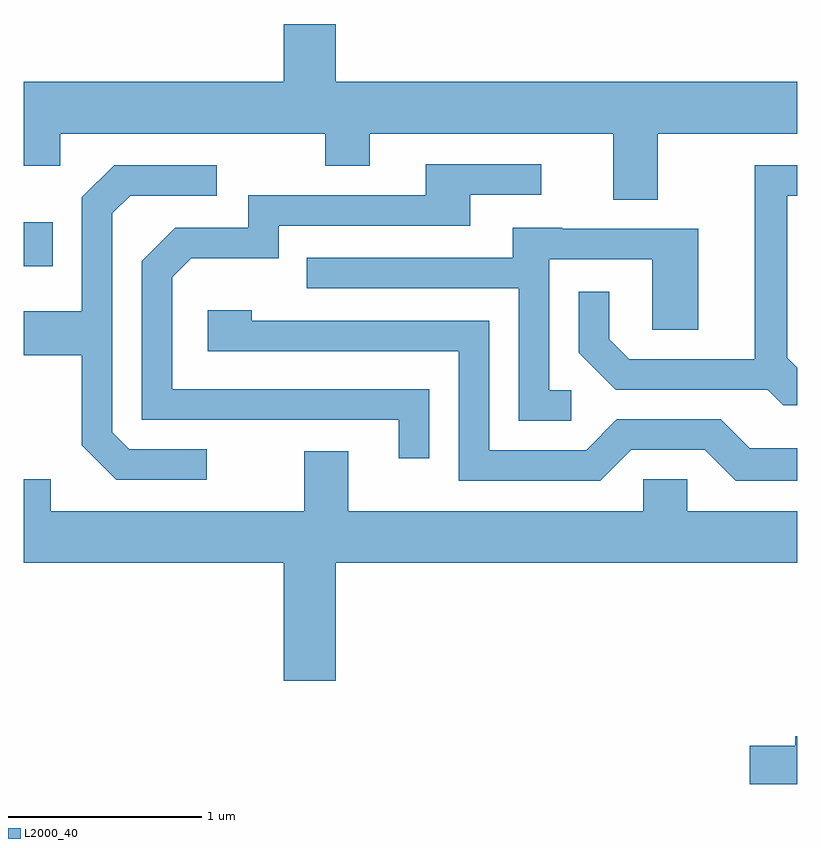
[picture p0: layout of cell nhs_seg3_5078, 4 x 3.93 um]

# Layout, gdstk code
import gdstk
lib = gdstk.Library(unit=1e-6, precision=1e-09)
def R(c, l, rs):  # rectangles x0, y0, x1, y1
    for r in rs: c.add(gdstk.rectangle(r[:2], r[2:], *l))
def P(c, l, *ps):  # polygons
    for p in ps: c.add(gdstk.Polygon(p, *l))
L2000_40 = (2000, 40)

nhs_seg3_5078 = lib.new_cell('nhs_seg3_5078')
R(nhs_seg3_5078, L2000_40, [(333.611,1218.571,333.759,1218.799)])
P(nhs_seg3_5078, L2000_40, [(336.889,1219.256),(337.611,1219.256),(337.611,1219.524),(335.224,1219.524),(335.224,1219.824),(334.956,1219.824),(334.956,1219.524),(333.611,1219.524),(333.611,1219.091),(333.799,1219.091),(333.799,1219.256),(335.171,1219.256),(335.171,1219.091),(335.399,1219.091),(335.399,1219.256),(336.661,1219.256),(336.661,1218.916),(336.889,1218.916)],
  [(335.709,1217.934),(334.379,1217.934),(334.379,1218.514),(334.477,1218.611),(334.929,1218.611),(334.929,1218.781),(335.919,1218.781),(335.919,1218.941),(336.288,1218.941),(336.288,1219.099),(335.691,1219.099),(335.691,1218.939),(334.771,1218.939),(334.771,1218.769),(334.394,1218.769),(334.221,1218.597),(334.221,1217.776),(335.551,1217.776),(335.551,1217.578),(335.709,1217.578)],
  [(334.558,1217.624),(334.157,1217.624),(334.069,1217.712),(334.069,1218.844),(334.162,1218.936),(334.608,1218.936),(334.608,1219.094),(334.079,1219.094),(333.911,1218.927),(333.911,1218.339),(333.611,1218.339),(333.611,1218.111),(333.911,1218.111),(333.911,1217.644),(334.089,1217.466),(334.558,1217.466)],
  [(337.611,1218.045),(337.559,1218.097),(337.559,1218.936),(337.611,1218.936),(337.611,1219.094),(337.391,1219.094),(337.391,1218.089),(336.742,1218.089),(336.639,1218.192),(336.639,1218.438),(336.481,1218.438),(336.481,1218.124),(336.674,1217.931),(337.459,1217.931),(337.539,1217.851),(337.611,1217.851)],
  [(336.443,1217.929),(336.329,1217.929),(336.329,1218.606),(336.861,1218.606),(336.861,1218.241),(337.099,1218.241),(337.099,1218.764),(336.395,1218.764),(336.395,1218.769),(336.141,1218.769),(336.141,1218.614),(335.073,1218.614),(335.073,1218.456),(336.171,1218.456),(336.171,1217.771),(336.443,1217.771)],
  [(336.752,1217.621),(337.134,1217.621),(337.294,1217.461),(337.611,1217.461),(337.611,1217.629),(337.367,1217.629),(337.217,1217.779),(336.679,1217.779),(336.519,1217.619),(336.019,1217.619),(336.019,1218.289),(334.789,1218.289),(334.789,1218.344),(334.561,1218.344),(334.561,1218.131),(335.861,1218.131),(335.861,1217.461),(336.592,1217.461)],
  [(335.224,1217.036),(337.611,1217.036),(337.611,1217.304),(337.044,1217.304),(337.044,1217.469),(336.816,1217.469),(336.816,1217.304),(335.289,1217.304),(335.289,1217.614),(335.061,1217.614),(335.061,1217.304),(333.749,1217.304),(333.749,1217.469),(333.611,1217.469),(333.611,1217.036),(334.956,1217.036),(334.956,1216.426),(335.224,1216.426)],
  [(337.611,1216.139),(337.601,1216.139),(337.601,1216.089),(337.366,1216.089),(337.366,1215.892),(337.611,1215.892)])

lib.write_gds('nhs_seg3_5078.gds')
